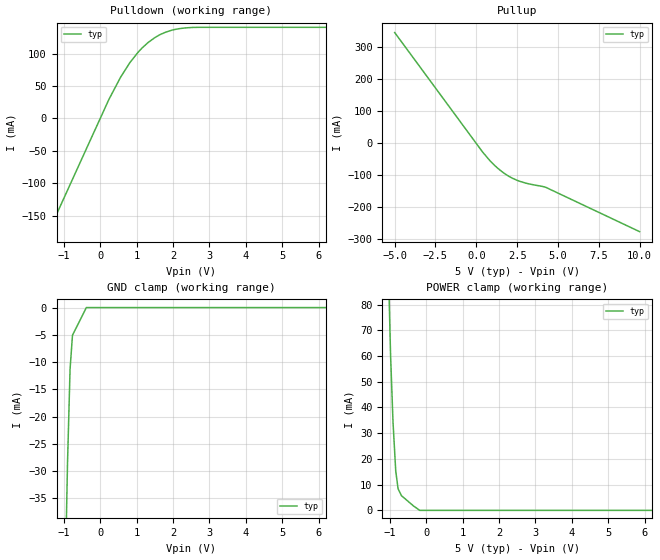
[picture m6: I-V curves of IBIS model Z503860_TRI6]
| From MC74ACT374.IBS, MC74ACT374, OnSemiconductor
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| (C) COPYRIGHT 1993-2000
| MENTOR GRAPHICS CORPORATION
| ICX STANDARD LIBRARY, ICX PROJECT MODELING,
| ICX CUSTOM MODELING, ICX VENDOR MODEL
| ALL RIGHTS RESERVED.
| THE FOLLOWING ARE TRADEMARKS OR SERVICE MARKS OF
| MENTOR GRAPHICS CORPORATION:ICX (R), ICX STANDARD
| LIBRARY(R), ICX PROJECT MODELING(R), ICX CUSTOM
| MODELING(R), qualityIBIS(TM), MODELVIEWER(TM),
| AND MODELEDITOR(TM)
| ALL COPIES OF SOFTWARE, INCLUDING BUT NOT LIMITED TO
| ANY MODIFICATIONS, ENHANCEMENTS OR DERIVATIVE WORKS,
| MUST CONTAIN ALL MENTOR GRAPHICS CORPORATION'S
| NOTICES AND LEGENDS, INCLUDING THOSE EMBEDDED IN
| SOFTWARE AND THOSE AFFIXED TO SOFTWARE MEDIUM
| AND CONTAINER, AS RECEIVED FROM MENTOR GRAPHICS
| CORPORATION.
| Model Application Version 1.89 2/18/99.
[Model] Z503860_TRI6
Model_type 3-state
Vref=0.000V
Rref=500.0Mohms
Cref=50.00pF
Vmeas=1.500V
C_comp 8.000pF NA NA
| variable typ   min   max
[Voltage Range] 5.000V NA NA
[POWER Clamp Reference] 5.000V NA NA
[Pullup Reference] 5.000V NA NA
[Pulldown Reference] 0.000V NA NA
[GND Clamp Reference] 0.000V NA NA
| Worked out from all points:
|   slope of the pulldown table from 0 to 0.75 V, typ, clamps not added: 9.33 ohm
|   slope of the pullup table from 0 to 0.75 V, typ, clamps not added: 15.4 ohm
|   POWER clamp passes 1 mA (typ) near -0.28 V on its own axis
[GND Clamp]
-5V       -1.409A    NA         NA
-898.4mV  -28.64mA   NA         NA
-828.1mV  -11.3mA    NA         NA
-761.7mV  -5.08mA    NA         NA
-380.8mV  0A         NA         NA
10V       0A         NA         NA
[Pulldown]
-5V       -615.6mA   NA         NA
234.7mV   28.83mA    NA         NA
557.6mV   63.29mA    NA         NA
810.9mV   85.69mA    NA         NA
1.035V    101.6mA    NA         NA
1.318V    117.1mA    NA         NA
1.509V    124.8mA    NA         NA
1.798V    132.9mA    NA         NA
2.095V    137.6mA    NA         NA
2.57V     140.3mA    NA         NA
10V       140.4mA    NA         NA
[Pullup]
-5V       344.3mA    NA         NA
372mV     -27.66mA   NA         NA
820mV     -54.85mA   NA         NA
1.334V    -80.15mA   NA         NA
1.831V    -99.2mA    NA         NA
2.236V    -110.9mA   NA         NA
3.003V    -125.2mA   NA         NA
4.267V    -139mA     NA         NA
10V       -277mA     NA         NA
[POWER Clamp]
-5V       2.323A     NA         NA
-977mV    60.66mA    NA         NA
-910mV    34.47mA    NA         NA
-835mV    15.39mA    NA         NA
-771mV    8.421mA    NA         NA
-678mV    5.72mA     NA         NA
-352mV    1.772mA    NA         NA
-176mV    0A         NA         NA
10V       0A         NA         NA
[Ramp]
| variable typ min max
dV/dt_r 2.932/835.9p NA NA
dV/dt_f 2.932/855.3p NA NA
R_load = 500.0Ohms
